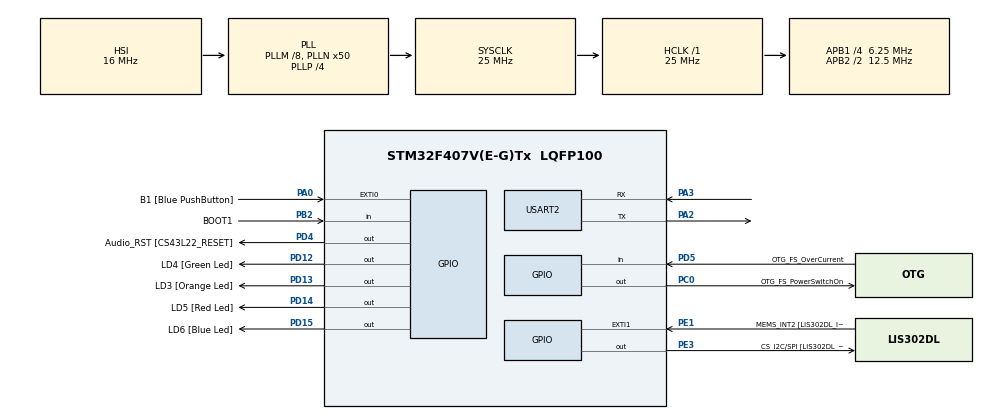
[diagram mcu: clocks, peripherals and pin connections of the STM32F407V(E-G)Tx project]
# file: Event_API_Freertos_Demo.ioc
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FREERTOS.Tasks01=defaultTask,24,128,StartDefaultTask,Default,NULL,Dynamic,NULL,NULL
Mcu.Family=STM32F4
Mcu.Name=STM32F407V(E-G)Tx
Mcu.Package=LQFP100
NVIC.PriorityGroup=NVIC_PRIORITYGROUP_4
PA0-WKUP.GPIO_Label=B1 [Blue PushButton]
PA0-WKUP.Signal=GPXTI0
PA10.GPIO_Label=OTG_FS_ID
PA10.GPIO_Mode=GPIO_MODE_AF_PP
PA10.GPIO_PuPd=GPIO_NOPULL
PA10.GPIO_Speed=GPIO_SPEED_FREQ_LOW
PA10.Signal=USB_OTG_FS_ID
PA11.GPIO_Label=OTG_FS_DM
PA11.GPIO_Mode=GPIO_MODE_AF_PP
PA11.GPIO_PuPd=GPIO_NOPULL
PA11.GPIO_Speed=GPIO_SPEED_FREQ_LOW
PA11.Signal=USB_OTG_FS_DM
PA12.GPIO_Label=OTG_FS_DP
PA12.GPIO_Mode=GPIO_MODE_AF_PP
PA12.GPIO_PuPd=GPIO_NOPULL
PA12.GPIO_Speed=GPIO_SPEED_FREQ_LOW
PA12.Signal=USB_OTG_FS_DP
PA13.GPIO_Label=SWDIO
PA13.Signal=SYS_JTMS-SWDIO
PA14.GPIO_Label=SWCLK
PA14.Signal=SYS_JTCK-SWCLK
PA2.Mode=Asynchronous
PA2.Signal=USART2_TX
PA3.Mode=Asynchronous
PA3.Signal=USART2_RX
PA4.GPIO_Label=I2S3_WS [CS43L22_LRCK]
PA4.GPIO_Mode=GPIO_MODE_AF_PP
PA4.GPIO_PuPd=GPIO_NOPULL
PA4.GPIO_Speed=GPIO_SPEED_FREQ_LOW
PA4.Signal=I2S3_WS
PA5.GPIO_Label=SPI1_SCK [LIS302DL_SCL/SPC]
PA5.GPIO_Mode=GPIO_MODE_AF_PP
PA5.GPIO_PuPd=GPIO_NOPULL
PA5.GPIO_Speed=GPIO_SPEED_FREQ_LOW
PA5.Signal=SPI1_SCK
PA6.GPIO_Label=SPI1_MISO [LIS302DL_SDO]
PA6.GPIO_Mode=GPIO_MODE_AF_PP
PA6.GPIO_PuPd=GPIO_NOPULL
PA6.GPIO_Speed=GPIO_SPEED_FREQ_LOW
PA6.Signal=SPI1_MISO
PA7.GPIO_Label=SPI1_MOSI [LIS302DL_SDA/SDI/SDO]
PA7.GPIO_Mode=GPIO_MODE_AF_PP
PA7.GPIO_PuPd=GPIO_NOPULL
PA7.GPIO_Speed=GPIO_SPEED_FREQ_LOW
PA7.Signal=SPI1_MOSI
PA9.GPIO_Label=VBUS_FS
PA9.GPIO_Mode=GPIO_MODE_INPUT
PA9.GPIO_PuPd=GPIO_NOPULL
PA9.Signal=USB_OTG_FS_VBUS
PB10.GPIO_Label=CLK_IN [MP45DT02_CLK]
PB10.GPIO_Mode=GPIO_MODE_AF_PP
PB10.GPIO_PuPd=GPIO_NOPULL
PB10.GPIO_Speed=GPIO_SPEED_FREQ_LOW
PB10.Signal=I2S2_CK
PB2.GPIO_Label=BOOT1
PB2.GPIO_Mode=GPIO_MODE_INPUT
PB2.GPIO_PuPd=GPIO_NOPULL
PB2.Signal=GPIO_Input
PB3.GPIO_Label=SWO
PB3.Signal=SYS_JTDO-SWO
PB6.GPIO_Label=Audio_SCL [CS43L22_SCL]
PB6.GPIO_Mode=GPIO_MODE_AF_OD
PB6.GPIO_PuPd=GPIO_NOPULL
PB6.GPIO_Speed=GPIO_SPEED_FREQ_LOW
PB6.Signal=I2C1_SCL
PB9.GPIO_Label=Audio_SDA [CS43L22_SDA]
PB9.GPIO_Mode=GPIO_MODE_AF_OD
PB9.GPIO_PuPd=GPIO_NOPULL
PB9.GPIO_Speed=GPIO_SPEED_FREQ_LOW
PB9.Signal=I2C1_SDA
PC0.GPIO_Label=OTG_FS_PowerSwitchOn
PC0.GPIO_PuPd=GPIO_NOPULL
PC0.GPIO_Speed=GPIO_SPEED_FREQ_LOW
PC0.PinState=GPIO_PIN_SET
PC0.Signal=GPIO_Output
PC10.GPIO_Label=I2S3_SCK [CS43L22_SCLK]
PC10.GPIO_Mode=GPIO_MODE_AF_PP
PC10.GPIO_PuPd=GPIO_NOPULL
PC10.GPIO_Speed=GPIO_SPEED_FREQ_LOW
PC10.Signal=I2S3_CK
PC12.GPIO_Label=I2S3_SD [CS43L22_SDIN]
PC12.GPIO_Mode=GPIO_MODE_AF_PP
PC12.GPIO_PuPd=GPIO_NOPULL
PC12.GPIO_Speed=GPIO_SPEED_FREQ_LOW
PC12.Signal=I2S3_SD
PC14-OSC32_IN.GPIO_Label=PC14-OSC32_IN
PC14-OSC32_IN.Signal=RCC_OSC32_IN
PC15-OSC32_OUT.GPIO_Label=PC15-OSC32_OUT
PC15-OSC32_OUT.Signal=RCC_OSC32_OUT
PC3.GPIO_Label=PDM_OUT [MP45DT02_DOUT]
PC3.GPIO_Mode=GPIO_MODE_AF_PP
PC3.GPIO_PuPd=GPIO_NOPULL
PC3.GPIO_Speed=GPIO_SPEED_FREQ_LOW
PC3.Signal=I2S2_SD
PC7.GPIO_Label=I2S3_MCK [CS43L22_MCLK]
PC7.GPIO_Mode=GPIO_MODE_AF_PP
PC7.GPIO_PuPd=GPIO_NOPULL
PC7.GPIO_Speed=GPIO_SPEED_FREQ_LOW
PC7.Signal=I2S3_MCK
PD12.GPIO_Label=LD4 [Green Led]
PD12.GPIO_PuPd=GPIO_NOPULL
PD12.GPIO_Speed=GPIO_SPEED_FREQ_LOW
PD12.Signal=GPIO_Output
PD13.GPIO_Label=LD3 [Orange Led]
PD13.GPIO_PuPd=GPIO_NOPULL
PD13.GPIO_Speed=GPIO_SPEED_FREQ_LOW
PD13.Signal=GPIO_Output
PD14.GPIO_Label=LD5 [Red Led]
PD14.GPIO_PuPd=GPIO_NOPULL
PD14.GPIO_Speed=GPIO_SPEED_FREQ_LOW
PD14.Signal=GPIO_Output
PD15.GPIO_Label=LD6 [Blue Led]
PD15.GPIO_PuPd=GPIO_NOPULL
PD15.GPIO_Speed=GPIO_SPEED_FREQ_LOW
PD15.Signal=GPIO_Output
PD4.GPIO_Label=Audio_RST [CS43L22_RESET]
PD4.GPIO_PuPd=GPIO_NOPULL
PD4.GPIO_Speed=GPIO_SPEED_FREQ_LOW
PD4.Signal=GPIO_Output
PD5.GPIO_Label=OTG_FS_OverCurrent
PD5.GPIO_Mode=GPIO_MODE_INPUT
PD5.GPIO_PuPd=GPIO_NOPULL
PD5.Signal=GPIO_Input
PE1.GPIO_Label=MEMS_INT2 [LIS302DL_INT2]
PE1.GPIO_ModeDefaultEXTI=GPIO_MODE_EVT_RISING
PE1.GPIO_PuPd=GPIO_NOPULL
PE1.Signal=GPXTI1
PE3.GPIO_Label=CS_I2C/SPI [LIS302DL_CS_I2C/SPI]
PE3.GPIO_PuPd=GPIO_NOPULL
PE3.GPIO_Speed=GPIO_SPEED_FREQ_LOW
PE3.Signal=GPIO_Output
PH0-OSC_IN.GPIO_Label=PH0-OSC_IN
PH0-OSC_IN.Signal=RCC_OSC_IN
PH1-OSC_OUT.GPIO_Label=PH1-OSC_OUT
PH1-OSC_OUT.Signal=RCC_OSC_OUT
ProjectManager.HeapSize=0x200
ProjectManager.StackSize=0x400
ProjectManager.TargetToolchain=STM32CubeIDE
RCC.48MHZClocksFreq_Value=14285714.285714285
RCC.AHBFreq_Value=25000000
RCC.APB1CLKDivider=RCC_HCLK_DIV4
RCC.APB1Freq_Value=6250000
RCC.APB1TimFreq_Value=12500000
RCC.APB2CLKDivider=RCC_HCLK_DIV2
RCC.APB2Freq_Value=12500000
RCC.APB2TimFreq_Value=25000000
RCC.CortexFreq_Value=25000000
RCC.HCLKFreq_Value=25000000
RCC.HSE_VALUE=8000000
RCC.HSI_VALUE=16000000
RCC.LSE_VALUE=32768
RCC.PLLM=8
RCC.PLLN=50
RCC.PLLP=RCC_PLLP_DIV4
RCC.PLLQ=7
RCC.SYSCLKFreq_VALUE=25000000
RCC.SYSCLKSource=RCC_SYSCLKSOURCE_PLLCLK
RCC.VCOOutputFreq_Value=100000000
USART2.VirtualMode=VM_ASYNC
VP_FREERTOS_VS_CMSIS_V2.Mode=CMSIS_V2
board=STM32F407G-DISC1

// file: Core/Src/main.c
/* USER CODE BEGIN Header */
/**
  ******************************************************************************
  * @file           : main.c
  * @brief          : Main program body
  ******************************************************************************
  * @attention
  *
  * Copyright (c) 2025 STMicroelectronics.
  * All rights reserved.
  *
  * This software is licensed under terms that can be found in the LICENSE file
  * in the root directory of this software component.
  * If no LICENSE file comes with this software, it is provided AS-IS.
  *
  ******************************************************************************
  */
/* USER CODE END Header */
#include "main.h"
#include<stdio.h>

/* USER CODE BEGIN Includes */
#include "FreeRTOS.h"
#include "task.h"
#include "event_groups.h"
#define BIT_0 (1 << 0)
#define BIT_4 (1 << 4)

/* USER CODE END Includes */

UART_HandleTypeDef huart2;
EventGroupHandle_t xEventGroup;
/* Definitions for defaultTask */

/* USER CODE BEGIN PV */
TaskHandle_t xTaskProducerHandle;
TaskHandle_t xTaskConsumerHandle;
/* USER CODE END PV */

void SystemClock_Config(void);
static void MX_GPIO_Init(void);
static void MX_USART2_UART_Init(void);
void StartDefaultTask(void *argument);

/* USER CODE BEGIN PFP */
void vTaskProducer(void *pvParameters);
void vTaskConsumer(void *pvParameters);
/* USER CODE END PFP */

int main(void)
{

  /* MCU Configuration--------------------------------------------------------*/

  /* Reset of all peripherals, Initializes the Flash interface and the Systick. */
  HAL_Init();

  /* Configure the system clock */
  SystemClock_Config();

  /* Initialize all configured peripherals */
  MX_GPIO_Init();
  MX_USART2_UART_Init();
  /* USER CODE BEGIN 2 */
  printf("\r\n=== FreeRTOS Event Group Demo ===\r\n");
  xEventGroup = xEventGroupCreate();
  xTaskCreate(vTaskProducer, "Producer", 256, NULL, 2, &xTaskProducerHandle);
     xTaskCreate(vTaskConsumer, "Consumer", 256, NULL, 1, &xTaskConsumerHandle);

     vTaskStartScheduler();
  /* USER CODE END 2 */

  /* Init scheduler */

  /* Create the thread(s) */
  /* creation of defaultTask */

  /* Start scheduler */

  /* We should never get here as control is now taken by the scheduler */

  /* Infinite loop */
  while (1)
  {

  }
}

void SystemClock_Config(void)
{
  RCC_OscInitTypeDef RCC_OscInitStruct = {0};
  RCC_ClkInitTypeDef RCC_ClkInitStruct = {0};

  /** Configure the main internal regulator output voltage
  */
  __HAL_RCC_PWR_CLK_ENABLE();
  __HAL_PWR_VOLTAGESCALING_CONFIG(PWR_REGULATOR_VOLTAGE_SCALE1);

  /** Initializes the RCC Oscillators according to the specified parameters
  * in the RCC_OscInitTypeDef structure.
  */
  RCC_OscInitStruct.OscillatorType = RCC_OSCILLATORTYPE_HSI;
  RCC_OscInitStruct.HSIState = RCC_HSI_ON;
  RCC_OscInitStruct.HSICalibrationValue = RCC_HSICALIBRATION_DEFAULT;
  RCC_OscInitStruct.PLL.PLLState = RCC_PLL_ON;
  RCC_OscInitStruct.PLL.PLLSource = RCC_PLLSOURCE_HSI;
  RCC_OscInitStruct.PLL.PLLM = 8;
  RCC_OscInitStruct.PLL.PLLN = 50;
  RCC_OscInitStruct.PLL.PLLP = RCC_PLLP_DIV4;
  RCC_OscInitStruct.PLL.PLLQ = 7;
  if (HAL_RCC_OscConfig(&RCC_OscInitStruct) != HAL_OK)
  {
    Error_Handler();
  }

  /** Initializes the CPU, AHB and APB buses clocks
  */
  RCC_ClkInitStruct.ClockType = RCC_CLOCKTYPE_HCLK|RCC_CLOCKTYPE_SYSCLK
                              |RCC_CLOCKTYPE_PCLK1|RCC_CLOCKTYPE_PCLK2;
  RCC_ClkInitStruct.SYSCLKSource = RCC_SYSCLKSOURCE_PLLCLK;
  RCC_ClkInitStruct.AHBCLKDivider = RCC_SYSCLK_DIV1;
  RCC_ClkInitStruct.APB1CLKDivider = RCC_HCLK_DIV4;
  RCC_ClkInitStruct.APB2CLKDivider = RCC_HCLK_DIV2;

  if (HAL_RCC_ClockConfig(&RCC_ClkInitStruct, FLASH_LATENCY_0) != HAL_OK)
  {
    Error_Handler();
  }
}

static void MX_USART2_UART_Init(void)
{

  huart2.Instance = USART2;
  huart2.Init.BaudRate = 115200;
  huart2.Init.WordLength = UART_WORDLENGTH_8B;
  huart2.Init.StopBits = UART_STOPBITS_1;
  huart2.Init.Parity = UART_PARITY_NONE;
  huart2.Init.Mode = UART_MODE_TX_RX;
  huart2.Init.HwFlowCtl = UART_HWCONTROL_NONE;
  huart2.Init.OverSampling = UART_OVERSAMPLING_16;
  if (HAL_UART_Init(&huart2) != HAL_OK)
  {
    Error_Handler();
  }

}

static void MX_GPIO_Init(void)
{
  GPIO_InitTypeDef GPIO_InitStruct = {0};

  /* GPIO Ports Clock Enable */
  __HAL_RCC_GPIOE_CLK_ENABLE();
  __HAL_RCC_GPIOC_CLK_ENABLE();
  __HAL_RCC_GPIOH_CLK_ENABLE();
  __HAL_RCC_GPIOA_CLK_ENABLE();
  __HAL_RCC_GPIOB_CLK_ENABLE();
  __HAL_RCC_GPIOD_CLK_ENABLE();

  /*Configure GPIO pin Output Level */
  HAL_GPIO_WritePin(CS_I2C_SPI_GPIO_Port, CS_I2C_SPI_Pin, GPIO_PIN_RESET);

  /*Configure GPIO pin Output Level */
  HAL_GPIO_WritePin(OTG_FS_PowerSwitchOn_GPIO_Port, OTG_FS_PowerSwitchOn_Pin, GPIO_PIN_SET);

  /*Configure GPIO pin Output Level */
  HAL_GPIO_WritePin(GPIOD, LD4_Pin|LD3_Pin|LD5_Pin|LD6_Pin
                          |Audio_RST_Pin, GPIO_PIN_RESET);

  /*Configure GPIO pin : CS_I2C_SPI_Pin */
  GPIO_InitStruct.Pin = CS_I2C_SPI_Pin;
  GPIO_InitStruct.Mode = GPIO_MODE_OUTPUT_PP;
  GPIO_InitStruct.Pull = GPIO_NOPULL;
  GPIO_InitStruct.Speed = GPIO_SPEED_FREQ_LOW;
  HAL_GPIO_Init(CS_I2C_SPI_GPIO_Port, &GPIO_InitStruct);

  /*Configure GPIO pin : OTG_FS_PowerSwitchOn_Pin */
  GPIO_InitStruct.Pin = OTG_FS_PowerSwitchOn_Pin;
  GPIO_InitStruct.Mode = GPIO_MODE_OUTPUT_PP;
  GPIO_InitStruct.Pull = GPIO_NOPULL;
  GPIO_InitStruct.Speed = GPIO_SPEED_FREQ_LOW;
  HAL_GPIO_Init(OTG_FS_PowerSwitchOn_GPIO_Port, &GPIO_InitStruct);

  /*Configure GPIO pin : PDM_OUT_Pin */
  GPIO_InitStruct.Pin = PDM_OUT_Pin;
  GPIO_InitStruct.Mode = GPIO_MODE_AF_PP;
  GPIO_InitStruct.Pull = GPIO_NOPULL;
  GPIO_InitStruct.Speed = GPIO_SPEED_FREQ_LOW;
  GPIO_InitStruct.Alternate = GPIO_AF5_SPI2;
  HAL_GPIO_Init(PDM_OUT_GPIO_Port, &GPIO_InitStruct);

  /*Configure GPIO pin : B1_Pin */
  GPIO_InitStruct.Pin = B1_Pin;
  GPIO_InitStruct.Mode = GPIO_MODE_IT_RISING;
  GPIO_InitStruct.Pull = GPIO_NOPULL;
  HAL_GPIO_Init(B1_GPIO_Port, &GPIO_InitStruct);

  /*Configure GPIO pin : I2S3_WS_Pin */
  GPIO_InitStruct.Pin = I2S3_WS_Pin;
  GPIO_InitStruct.Mode = GPIO_MODE_AF_PP;
  GPIO_InitStruct.Pull = GPIO_NOPULL;
  GPIO_InitStruct.Speed = GPIO_SPEED_FREQ_LOW;
  GPIO_InitStruct.Alternate = GPIO_AF6_SPI3;
  HAL_GPIO_Init(I2S3_WS_GPIO_Port, &GPIO_InitStruct);

  /*Configure GPIO pins : SPI1_SCK_Pin SPI1_MISO_Pin SPI1_MOSI_Pin */
  GPIO_InitStruct.Pin = SPI1_SCK_Pin|SPI1_MISO_Pin|SPI1_MOSI_Pin;
  GPIO_InitStruct.Mode = GPIO_MODE_AF_PP;
  GPIO_InitStruct.Pull = GPIO_NOPULL;
  GPIO_InitStruct.Speed = GPIO_SPEED_FREQ_LOW;
  GPIO_InitStruct.Alternate = GPIO_AF5_SPI1;
  HAL_GPIO_Init(GPIOA, &GPIO_InitStruct);

  /*Configure GPIO pin : BOOT1_Pin */
  GPIO_InitStruct.Pin = BOOT1_Pin;
  GPIO_InitStruct.Mode = GPIO_MODE_INPUT;
  GPIO_InitStruct.Pull = GPIO_NOPULL;
  HAL_GPIO_Init(BOOT1_GPIO_Port, &GPIO_InitStruct);

  /*Configure GPIO pin : CLK_IN_Pin */
  GPIO_InitStruct.Pin = CLK_IN_Pin;
  GPIO_InitStruct.Mode = GPIO_MODE_AF_PP;
  GPIO_InitStruct.Pull = GPIO_NOPULL;
  GPIO_InitStruct.Speed = GPIO_SPEED_FREQ_LOW;
  GPIO_InitStruct.Alternate = GPIO_AF5_SPI2;
  HAL_GPIO_Init(CLK_IN_GPIO_Port, &GPIO_InitStruct);

  /*Configure GPIO pins : LD4_Pin LD3_Pin LD5_Pin LD6_Pin
                           Audio_RST_Pin */
  GPIO_InitStruct.Pin = LD4_Pin|LD3_Pin|LD5_Pin|LD6_Pin
                          |Audio_RST_Pin;
  GPIO_InitStruct.Mode = GPIO_MODE_OUTPUT_PP;
  GPIO_InitStruct.Pull = GPIO_NOPULL;
  GPIO_InitStruct.Speed = GPIO_SPEED_FREQ_LOW;
  HAL_GPIO_Init(GPIOD, &GPIO_InitStruct);

  /*Configure GPIO pins : I2S3_MCK_Pin I2S3_SCK_Pin I2S3_SD_Pin */
  GPIO_InitStruct.Pin = I2S3_MCK_Pin|I2S3_SCK_Pin|I2S3_SD_Pin;
  GPIO_InitStruct.Mode = GPIO_MODE_AF_PP;
  GPIO_InitStruct.Pull = GPIO_NOPULL;
  GPIO_InitStruct.Speed = GPIO_SPEED_FREQ_LOW;
  GPIO_InitStruct.Alternate = GPIO_AF6_SPI3;
  HAL_GPIO_Init(GPIOC, &GPIO_InitStruct);

  /*Configure GPIO pin : VBUS_FS_Pin */
  GPIO_InitStruct.Pin = VBUS_FS_Pin;
  GPIO_InitStruct.Mode = GPIO_MODE_INPUT;
  GPIO_InitStruct.Pull = GPIO_NOPULL;
  HAL_GPIO_Init(VBUS_FS_GPIO_Port, &GPIO_InitStruct);

  /*Configure GPIO pins : OTG_FS_ID_Pin OTG_FS_DM_Pin OTG_FS_DP_Pin */
  GPIO_InitStruct.Pin = OTG_FS_ID_Pin|OTG_FS_DM_Pin|OTG_FS_DP_Pin;
  GPIO_InitStruct.Mode = GPIO_MODE_AF_PP;
  GPIO_InitStruct.Pull = GPIO_NOPULL;
  GPIO_InitStruct.Speed = GPIO_SPEED_FREQ_LOW;
  GPIO_InitStruct.Alternate = GPIO_AF10_OTG_FS;
  HAL_GPIO_Init(GPIOA, &GPIO_InitStruct);

  /*Configure GPIO pin : OTG_FS_OverCurrent_Pin */
  GPIO_InitStruct.Pin = OTG_FS_OverCurrent_Pin;
  GPIO_InitStruct.Mode = GPIO_MODE_INPUT;
  GPIO_InitStruct.Pull = GPIO_NOPULL;
  HAL_GPIO_Init(OTG_FS_OverCurrent_GPIO_Port, &GPIO_InitStruct);

  /*Configure GPIO pins : Audio_SCL_Pin Audio_SDA_Pin */
  GPIO_InitStruct.Pin = Audio_SCL_Pin|Audio_SDA_Pin;
  GPIO_InitStruct.Mode = GPIO_MODE_AF_OD;
  GPIO_InitStruct.Pull = GPIO_NOPULL;
  GPIO_InitStruct.Speed = GPIO_SPEED_FREQ_LOW;
  GPIO_InitStruct.Alternate = GPIO_AF4_I2C1;
  HAL_GPIO_Init(GPIOB, &GPIO_InitStruct);

  /*Configure GPIO pin : MEMS_INT2_Pin */
  GPIO_InitStruct.Pin = MEMS_INT2_Pin;
  GPIO_InitStruct.Mode = GPIO_MODE_EVT_RISING;
  GPIO_InitStruct.Pull = GPIO_NOPULL;
  HAL_GPIO_Init(MEMS_INT2_GPIO_Port, &GPIO_InitStruct);

}

/* USER CODE BEGIN 4 */
void vTaskProducer(void *pvParameters)
{
    while (1)
    {
        printf("[Producer] Setting BIT_0\r\n");
        xEventGroupSetBits(xEventGroup, BIT_0);
        vTaskDelay(pdMS_TO_TICKS(1000));

        printf("[Producer] Setting BIT_4\r\n");
        xEventGroupSetBits(xEventGroup, BIT_4);
        vTaskDelay(pdMS_TO_TICKS(1000));

        printf("[Producer] Setting BOTH bits\r\n");
        xEventGroupSetBits(xEventGroup, BIT_0 | BIT_4);
        vTaskDelay(pdMS_TO_TICKS(2000));
    }
}
void vTaskConsumer(void *pvParameters)
{
    EventBits_t uxBits;

    while (1)
    {
        /* Wait for either BIT_0 or BIT_4 to be set */
        uxBits = xEventGroupWaitBits(
                    xEventGroup,
                    BIT_0 | BIT_4,
                    pdTRUE,    /* Clear bits on exit */
                    pdFALSE,   /* Wait for any bit */
                    portMAX_DELAY);

        /* Check which bits were set */
        if ((uxBits & (BIT_0 | BIT_4)) == (BIT_0 | BIT_4))
        {
            printf("[Consumer] Both BIT_0 and BIT_4 were set!\r\n");
        }
        else if (uxBits & BIT_0)
        {
            printf("[Consumer] Only BIT_0 was set!\r\n");
        }
        else if (uxBits & BIT_4)
        {
            printf("[Consumer] Only BIT_4 was set!\r\n");
        }
    }
}

int _write(int file, char *ptr, int len)
{
    HAL_UART_Transmit(&huart2, (uint8_t *)ptr, len, HAL_MAX_DELAY);
    return len;
}

/* USER CODE END 4 */

void Error_Handler(void)
{
  __disable_irq();
  while (1)
  {
  }
}
